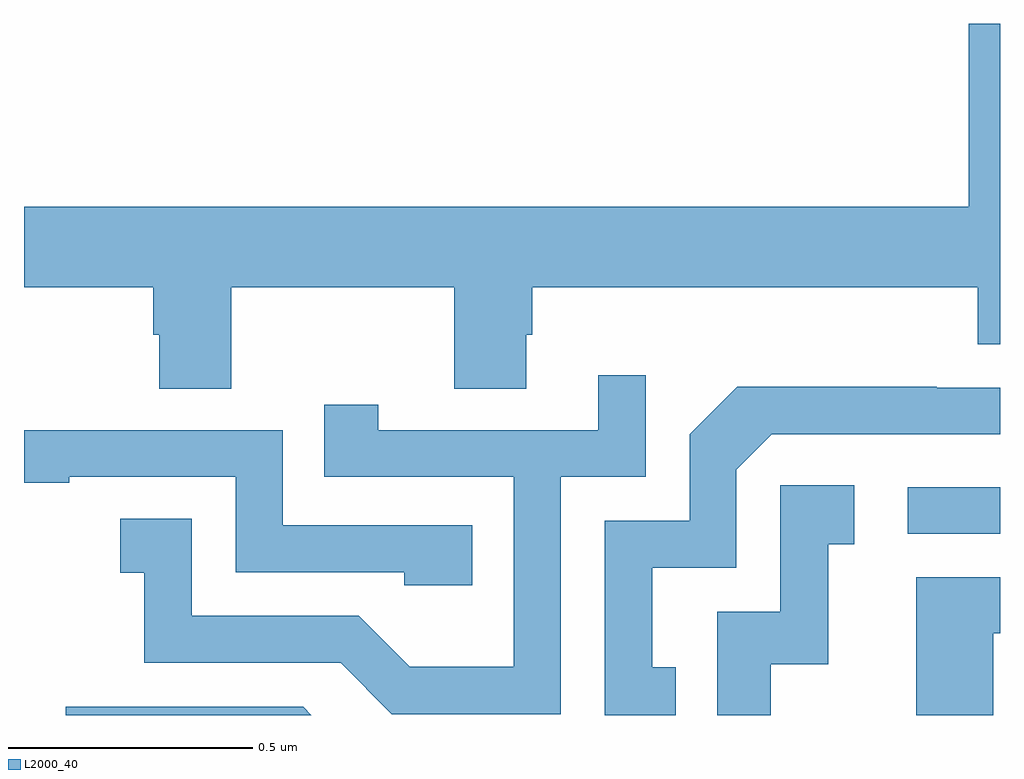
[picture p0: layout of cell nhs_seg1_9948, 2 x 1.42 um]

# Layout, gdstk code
import gdstk
lib = gdstk.Library(unit=1e-6, precision=1e-09)
def R(c, l, rs):  # rectangles x0, y0, x1, y1
    for r in rs: c.add(gdstk.rectangle(r[:2], r[2:], *l))
def P(c, l, *ps):  # polygons
    for p in ps: c.add(gdstk.Polygon(p, *l))
L2000_40 = (2000, 40)

nhs_seg1_9948 = lib.new_cell('nhs_seg1_9948')
R(nhs_seg1_9948, L2000_40, [(236.811,540.57,237,540.666)])
P(nhs_seg1_9948, L2000_40, [(235.425,541.076),(235.882,541.076),(235.882,540.868),(236.029,540.868),(236.029,540.978),(236.042,540.978),(236.042,541.076),(236.954,541.076),(236.954,540.959),(237,540.959),(237,541.615),(236.936,541.615),(236.936,541.24),(235,541.24),(235,541.076),(235.265,541.076),(235.265,540.978),(235.277,540.978),(235.277,540.868),(235.425,540.868)],
  [(236.1,540.687),(236.274,540.687),(236.274,540.895),(236.177,540.895),(236.177,540.783),(235.726,540.783),(235.726,540.835),(235.615,540.835),(235.615,540.687),(236.004,540.687),(236.004,540.298),(235.79,540.298),(235.686,540.402),(235.344,540.402),(235.344,540.601),(235.197,540.601),(235.197,540.491),(235.246,540.491),(235.246,540.306),(235.649,540.306),(235.754,540.201),(236.1,540.201)],
  [(236.336,540.297),(236.287,540.297),(236.287,540.501),(236.46,540.501),(236.46,540.702),(236.532,540.774),(237,540.774),(237,540.87),(236.87,540.87),(236.87,540.872),(236.462,540.872),(236.364,540.774),(236.364,540.597),(236.19,540.597),(236.19,540.199),(236.336,540.199)],
  [(235.919,540.588),(235.53,540.588),(235.53,540.783),(235,540.783),(235,540.675),(235.093,540.675),(235.093,540.687),(235.434,540.687),(235.434,540.492),(235.779,540.492),(235.779,540.465),(235.919,540.465)],
  [(236.53,540.303),(236.648,540.303),(236.648,540.549),(236.701,540.549),(236.701,540.67),(236.55,540.67),(236.55,540.411),(236.421,540.411),(236.421,540.199),(236.53,540.199)],
  [(236.986,540.367),(237,540.367),(237,540.481),(236.828,540.481),(236.828,540.199),(236.986,540.199)],
  [(235.572,540.216),(235.086,540.216),(235.086,540.199),(235.589,540.199)])

lib.write_gds('nhs_seg1_9948.gds')
